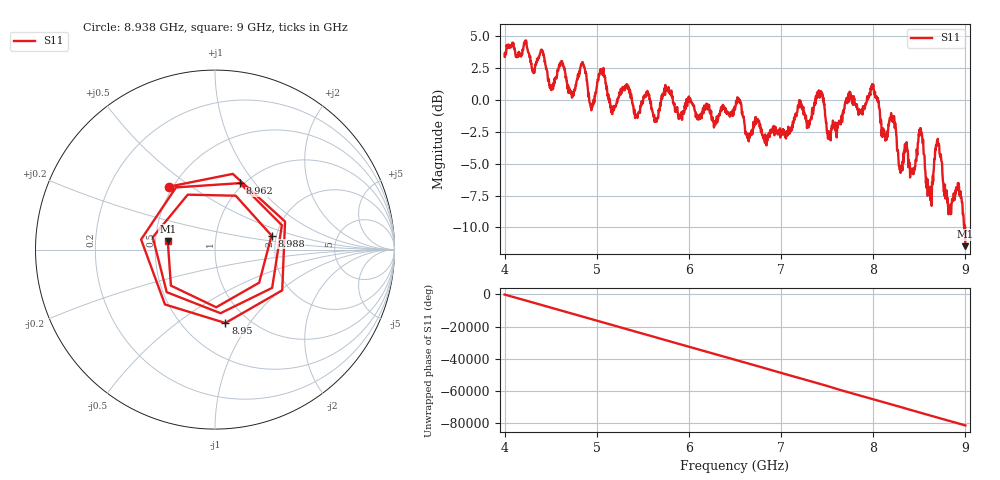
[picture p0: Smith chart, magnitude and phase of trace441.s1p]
! Created with skrf 1.8.0 (http://scikit-rf.org).
# Hz S RI R 50.0
!freq ReS11 ImS11
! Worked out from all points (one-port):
!   1601 points, 4 GHz to 9 GHz, reference 50 ohm
!   lowest |S11| = -11.5 dB at 9 GHz (marker M1), VSWR 1.73, Z = 29.1 + j2.87 ohm
!   |S11| at or under -10 dB: 8.989441 GHz to 8.99289 GHz (3.449 MHz wide, 0.0384 % of centre); 8.997048 GHz to end of sweep
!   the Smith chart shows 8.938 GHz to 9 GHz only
!   S11 on the Smith chart (normalised r, x): 8.938 GHz: 0.48, +0.41; 8.95 GHz: 0.79, -0.78; 8.962 GHz: 0.96, +0.84; 8.988 GHz: 1.88, +0.33; 9 GHz: 0.58, +0.06
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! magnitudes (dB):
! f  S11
! 4 GHz  3.6
! 4.406 GHz  3.8
! 4.509 GHz  1.0
! 4.625 GHz  3.0
! 4.728 GHz  0.4
! 4.853 GHz  2.8
! 4.944 GHz  -0.6
! 5.047 GHz  2.4
! 5.25 GHz  0.5
! 5.875 GHz  -0.8
! 6.5 GHz  -0.8
! 6.647 GHz  -3.2
! 7.125 GHz  -2.2
! 7.422 GHz  0.5
! 7.522 GHz  -3.1
! 7.75 GHz  0.6
! 7.997 GHz  1.1
! 8.116 GHz  -2.3
! 8.375 GHz  -4.0
! 8.516 GHz  -2.2
! 8.616 GHz  -6.8
! 8.697 GHz  -3.5
! 8.825 GHz  -8.7
! 8.938 GHz  -7.2
! 8.95 GHz  -7.7
! 8.962 GHz  -8.1
! 8.988 GHz  -9.8
! 9 GHz  -11.5
